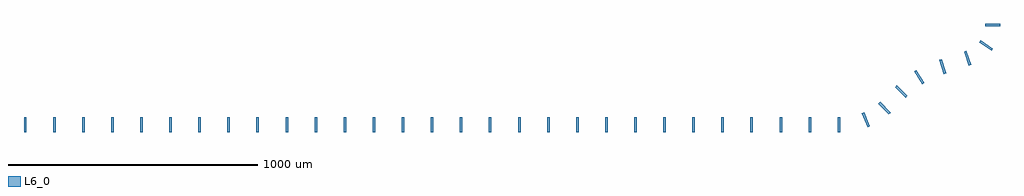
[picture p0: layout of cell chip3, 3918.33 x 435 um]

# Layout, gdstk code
import gdstk
lib = gdstk.Library(unit=1e-6, precision=1e-09)
def R(c, l, rs):  # rectangles x0, y0, x1, y1
    for r in rs: c.add(gdstk.rectangle(r[:2], r[2:], *l))
def A(c, l, x, y, w, h, nx, ny, dx, dy):  # array of equal rectangles
    R(c, l, [(x+i*dx, y+j*dy, x+i*dx+w, y+j*dy+h) for i in range(nx) for j in range(ny)])
def P(c, l, *ps):  # polygons
    for p in ps: c.add(gdstk.Polygon(p, *l))
L6_0 = (6, 0)

chip3 = lib.new_cell('chip3')
A(chip3, L6_0, -3271.667, -30, 10, 60, 3, 1, 116.667, 0)
A(chip3, L6_0, -2921.667, -30, 10, 60, 3, 1, 116.667, 0)
A(chip3, L6_0, -2571.667, -30, 10, 60, 3, 1, 116.667, 0)
A(chip3, L6_0, -2221.667, -30, 10, 60, 3, 1, 116.667, 0)
A(chip3, L6_0, -1871.667, -30, 10, 60, 3, 1, 116.667, 0)
A(chip3, L6_0, -1521.667, -30, 10, 60, 3, 1, 116.667, 0)
A(chip3, L6_0, -1171.667, -30, 10, 60, 3, 1, 116.667, 0)
A(chip3, L6_0, -821.667, -30, 10, 60, 3, 1, 116.667, 0)
A(chip3, L6_0, -471.667, -30, 10, 60, 3, 1, 116.667, 0)
R(chip3, L6_0, [(-3388.333,-30,-3378.333,30), (-121.667,-30,-111.667,30), (470,395,530,405)])
P(chip3, L6_0, [(-14.979,49.228),(7.982,-6.205),(-1.257,-10.031),(-24.218,45.401)],
  [(217.112,162.801),(185.569,213.84),(194.075,219.097),(225.619,168.058)],
  [(453.139,339.939),(501.814,304.856),(495.967,296.744),(447.292,331.826)],
  [(84.344,41.918),(41.918,84.344),(48.989,91.415),(91.415,48.989)],
  [(151.011,108.585),(108.585,151.011),(115.656,158.082),(158.082,115.656)],
  [(304.743,203.292),(285.77,260.213),(295.257,263.375),(314.23,206.454)],
  [(404.743,236.625),(385.77,293.546),(395.257,296.708),(414.23,239.787)])

lib.write_gds('chip3.gds')
